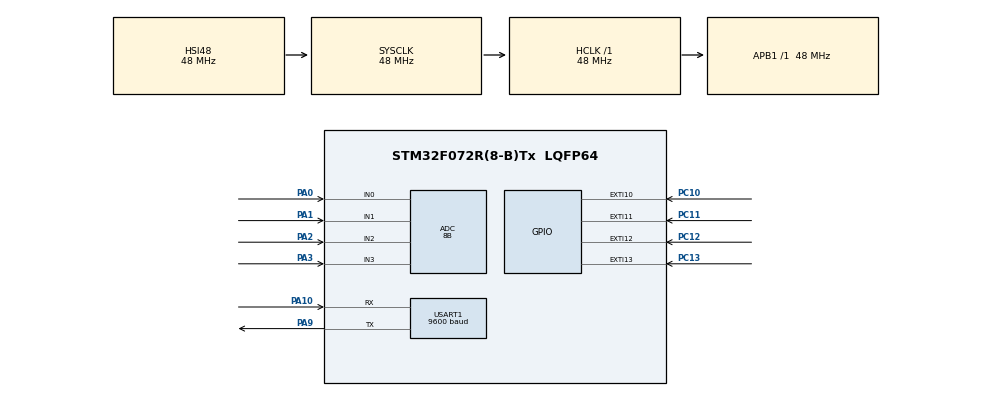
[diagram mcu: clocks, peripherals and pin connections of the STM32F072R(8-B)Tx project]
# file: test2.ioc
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ADC.ContinuousConvMode=ENABLE
ADC.Resolution=ADC_RESOLUTION_8B
ADC.SamplingTime=ADC_SAMPLETIME_28CYCLES_5
ADC.ScanConvMode=ADC_SCAN_DIRECTION_FORWARD
Mcu.Family=STM32F0
Mcu.Name=STM32F072R(8-B)Tx
Mcu.Package=LQFP64
NVIC.EXTI4_15_IRQn=true\:0\:0\:false\:false\:true\:true\:true\:true
NVIC.RCC_CRS_IRQn=true\:0\:0\:false\:false\:true\:true\:false\:true
PA0.Mode=IN0
PA0.Signal=ADC_IN0
PA1.Mode=IN1
PA1.Signal=ADC_IN1
PA10.Mode=Asynchronous
PA10.Signal=USART1_RX
PA13.Mode=Serial_Wire
PA13.Signal=SYS_SWDIO
PA14.Mode=Serial_Wire
PA14.Signal=SYS_SWCLK
PA2.Mode=IN2
PA2.Signal=ADC_IN2
PA3.Mode=IN3
PA3.Signal=ADC_IN3
PA9.Mode=Asynchronous
PA9.Signal=USART1_TX
PC10.GPIO_ModeDefaultEXTI=GPIO_MODE_IT_RISING
PC10.GPIO_PuPd=GPIO_PULLDOWN
PC10.Signal=GPXTI10
PC11.GPIO_ModeDefaultEXTI=GPIO_MODE_IT_RISING
PC11.GPIO_PuPd=GPIO_PULLDOWN
PC11.Signal=GPXTI11
PC12.GPIO_ModeDefaultEXTI=GPIO_MODE_IT_RISING
PC12.GPIO_PuPd=GPIO_PULLDOWN
PC12.Signal=GPXTI12
PC13.GPIO_ModeDefaultEXTI=GPIO_MODE_IT_RISING
PC13.GPIO_PuPd=GPIO_PULLDOWN
PC13.Signal=GPXTI13
ProjectManager.HeapSize=0x200
ProjectManager.StackSize=0x400
ProjectManager.TargetToolchain=STM32CubeIDE
RCC.AHBFreq_Value=48000000
RCC.APB1Freq_Value=48000000
RCC.APB1TimFreq_Value=48000000
RCC.HCLKFreq_Value=48000000
RCC.SYSCLKFreq_VALUE=48000000
RCC.SYSCLKSource=RCC_SYSCLKSOURCE_HSI48
USART1.BaudRate=9600
USART1.VirtualMode-Asynchronous=VM_ASYNC
VP_ADC_TempSens_Input.Mode=IN-TempSens
board=custom

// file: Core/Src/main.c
/* USER CODE BEGIN Header */
/**
  ******************************************************************************
  * @file           : main.c
  * @brief          : Main program body
  ******************************************************************************
  * @attention
  *
  * Copyright (c) 2023 STMicroelectronics.
  * All rights reserved.
  *
  * This software is licensed under terms that can be found in the LICENSE file
  * in the root directory of this software component.
  * If no LICENSE file comes with this software, it is provided AS-IS.
  *
  ******************************************************************************
  */
/* USER CODE END Header */
#include "main.h"

ADC_HandleTypeDef hadc;

UART_HandleTypeDef huart1;

/* USER CODE BEGIN PV */
/*int check = 0;
CAN_RxHeaderTypeDef RxHeader;
uint8_t RxData[8];
uint8_t myTxData[13] = "Wire Error \t"; */
/* USER CODE END PV */

void SystemClock_Config(void);
static void MX_GPIO_Init(void);
static void MX_USART1_UART_Init(void);
static void MX_ADC_Init(void);

/* USER CODE BEGIN 0 */
//CAN_TxHeaderTypeDef TxHeader;
//CAN_RxHeaderTypeDef RxHeader;

uint32_t TxMailBox;

uint8_t TxData[8];
uint8_t RxData[8];

uint8_t T[4];
//uint8_t myTxData[13] = "Wire Error \t";

uint32_t adc_var[4];

uint8_t f1,f2,f3,f4;

float adc_voltage[4];
int check = 0 ;

void ADC_SelectChannel(uint32_t channel)
{
    ADC_ChannelConfTypeDef sConfig = {0};
    sConfig.Channel = channel;
    sConfig.Rank = 1;
    sConfig.SamplingTime = ADC_SAMPLETIME_28CYCLES_5;

    if (HAL_ADC_ConfigChannel(&hadc, &sConfig) != HAL_OK)
    {
        Error_Handler();
    }
}

void HAL_GPIO_EXTI_Callback(uint16_t GPIO_Pin)
	{
	    if (GPIO_Pin == GPIO_PIN_13)
	    {
	        // ADC_CHANNEL_0
	    	ADC_SelectChannel(ADC_CHANNEL_0);
		HAL_ADC_Start(&hadc);
		HAL_ADC_PollForConversion(&hadc, HAL_MAX_DELAY);
		adc_var[0]= HAL_ADC_GetValue(&hadc);
		HAL_ADC_Stop(&hadc);
		adc_voltage[0] = (adc_var[0]*3.3)/255.0;
		//f1 = 1<<4;
		f1 = 0x1;

			 	 if ( adc_voltage[0] >= 0.2 || adc_voltage[0] <= 0.09  )
			 	  {
			 		 //f1+=1;
			 		 f1 = (f1 | 0x1) ;
			 	  }
			 	  else
			 	  {

			 	  }
			 	T[0] = f1;

	}

	//CHANNEL 1
	//***************************************************************************************

	 else if (GPIO_Pin == GPIO_PIN_12)
		   {
		      // ADC_CHANNEL_1
		ADC_SelectChannel(ADC_CHANNEL_1);

		HAL_ADC_Start(&hadc);
		HAL_ADC_PollForConversion(&hadc, HAL_MAX_DELAY);
		adc_var[1]= HAL_ADC_GetValue(&hadc);
		HAL_ADC_Stop(&hadc);
		adc_voltage[1] = (adc_var[1]*3.3)/255.0;

		//f2 = 1<<5;
		f2 = 0x2;
			 	 if ( adc_voltage[1] >= 0.2 || adc_voltage[1] <= 0.09  )
			 		 	  {
			 		 	 	// f2+=1;
			 		 	 	 f2 = (f2 | 0x1);

			 		 	  }
			 		 	  else
			 		 	  {

			 		 	  }
			 	T[1] = f2;

	}
	//CHANNEL 2
	//***************************************************************************************
	  else if (GPIO_Pin == GPIO_PIN_11)
	  {
		  // ADC_CHANNEL_2
	 ADC_SelectChannel(ADC_CHANNEL_2);
		HAL_ADC_Start(&hadc);
		HAL_ADC_PollForConversion(&hadc, HAL_MAX_DELAY);
		adc_var[2]= HAL_ADC_GetValue(&hadc);
		HAL_ADC_Stop(&hadc);
		adc_voltage[2] = (adc_var[2]*3.3)/255.0;
		//f3 = ( (f2 = 1<<5) | (f1 = 1<<4));
		f3 = 0x3;

			 	if ( adc_voltage[2] >= 0.2 || adc_voltage[2] <= 0.09  )
			 		 		 	  {
			 							//f3 += 1;
			 						f3 = (f3 | 0x1);

			 		 		 	  }
			 		 		 	  else
			 		 		 	  {

			 		 		 	  }
			 	T[2] = f3;

	}
	//CHANNEL 3
	//***************************************************************************************
	  else if (GPIO_Pin == GPIO_PIN_10)
	  			    {
		  // ADC_CHANNEL_3
		  ADC_SelectChannel(ADC_CHANNEL_3);
		HAL_ADC_Start(&hadc);
		HAL_ADC_PollForConversion(&hadc, HAL_MAX_DELAY);
		adc_var[3]= HAL_ADC_GetValue(&hadc);
		HAL_ADC_Stop(&hadc);
		adc_voltage[3] = (adc_var[3]*3.3)/255.0;
		//f4 = 1 << 6 ;
		f4 = 0x4;

			 	if ( adc_voltage[3] >= 0.2 || adc_voltage[3] <= 0.09  )
			 		 		 	  {
			 							//f4 += 1;
			 							f4 = (f4 | 0x1);

			 		 		 	  }
			 		 		 	  else
			 		 		 	  {

			 		 		 	  }
			 	T[3] = f4;

	}
}

//ERR : 0x1 : feu avant
//ERR : 0x2 : feu arriere
//ERR : 0x3 : feu de phare
//ERR : 0x4 : feu avant ( droite / gauche )

/*void HAL_CAN_RxFifo1MsgPendingCallback(CAN_HandleTypeDef *hcan)
{
	HAL_CAN_GetRxMessage(hcan, CAN_RX_FIFO1, &RxHeader, RxData);
	HAL_CAN_DeactivateNotification(hcan, CAN_IT_RX_FIFO0_MSG_PENDING);
	if(RxData[0]==0x1)
	{

		//HAL_UART_Transmit(&huart1, &myTxData, sizeof(myTxData), HAL_MAX_DELAY);
		count++;

	}
	HAL_CAN_ActivateNotification(&hcan, CAN_IT_RX_FIFO0_MSG_PENDING);

}*/

/* USER CODE END 0 */

int main(void)
{

  /* MCU Configuration--------------------------------------------------------*/

  /* Reset of all peripherals, Initializes the Flash interface and the Systick. */
  HAL_Init();

  /* Configure the system clock */
  SystemClock_Config();

  /* Initialize all configured peripherals */
  MX_GPIO_Init();
  MX_USART1_UART_Init();
  MX_ADC_Init();
  /* USER CODE BEGIN 2 */
  //HAL_CAN_Start(&hcan);
  //HAL_CAN_ActivateNotification(&hcan, CAN_IT_RX_FIFO0_MSG_PENDING);

  /* USER CODE END 2 */

  /* Infinite loop */
  while (1)
  {

    /* USER CODE BEGIN 3 */

	  // MESSAGE TRASMIT

		HAL_UART_Transmit(&huart1, T, sizeof(T), HAL_MAX_DELAY);

	  	HAL_Delay(500);

	  	  /*if (HAL_CAN_AddTxMessage(&hcan1, &TxHeader, TxData, &TxMailbox) != HAL_OK) {
	 	 	       Error_Handler();
	 	 	     }*/

/*	  if ( check == 1)
	  	  {
	  		  if( RxData[0] == 1 )
	  		  {
	  			  HAL_UART_Transmit(&huart1, myTxData, sizeof(myTxData), 1000);
	  			  HAL_Delay(400);

	  		  }
	  	  }*/

  }
  /* USER CODE END 3 */
}

void SystemClock_Config(void)
{
  RCC_OscInitTypeDef RCC_OscInitStruct = {0};
  RCC_ClkInitTypeDef RCC_ClkInitStruct = {0};
  RCC_PeriphCLKInitTypeDef PeriphClkInit = {0};

  /** Initializes the RCC Oscillators according to the specified parameters
  * in the RCC_OscInitTypeDef structure.
  */
  RCC_OscInitStruct.OscillatorType = RCC_OSCILLATORTYPE_HSI14|RCC_OSCILLATORTYPE_HSI48;
  RCC_OscInitStruct.HSI48State = RCC_HSI48_ON;
  RCC_OscInitStruct.HSI14State = RCC_HSI14_ON;
  RCC_OscInitStruct.HSI14CalibrationValue = 16;
  RCC_OscInitStruct.PLL.PLLState = RCC_PLL_NONE;
  if (HAL_RCC_OscConfig(&RCC_OscInitStruct) != HAL_OK)
  {
    Error_Handler();
  }

  /** Initializes the CPU, AHB and APB buses clocks
  */
  RCC_ClkInitStruct.ClockType = RCC_CLOCKTYPE_HCLK|RCC_CLOCKTYPE_SYSCLK
                              |RCC_CLOCKTYPE_PCLK1;
  RCC_ClkInitStruct.SYSCLKSource = RCC_SYSCLKSOURCE_HSI48;
  RCC_ClkInitStruct.AHBCLKDivider = RCC_SYSCLK_DIV1;
  RCC_ClkInitStruct.APB1CLKDivider = RCC_HCLK_DIV1;

  if (HAL_RCC_ClockConfig(&RCC_ClkInitStruct, FLASH_LATENCY_1) != HAL_OK)
  {
    Error_Handler();
  }
  PeriphClkInit.PeriphClockSelection = RCC_PERIPHCLK_USART1;
  PeriphClkInit.Usart1ClockSelection = RCC_USART1CLKSOURCE_PCLK1;
  if (HAL_RCCEx_PeriphCLKConfig(&PeriphClkInit) != HAL_OK)
  {
    Error_Handler();
  }
}

static void MX_ADC_Init(void)
{

  ADC_ChannelConfTypeDef sConfig = {0};

  /** Configure the global features of the ADC (Clock, Resolution, Data Alignment and number of conversion)
  */
  hadc.Instance = ADC1;
  hadc.Init.ClockPrescaler = ADC_CLOCK_ASYNC_DIV1;
  hadc.Init.Resolution = ADC_RESOLUTION_8B;
  hadc.Init.DataAlign = ADC_DATAALIGN_RIGHT;
  hadc.Init.ScanConvMode = ADC_SCAN_DIRECTION_FORWARD;
  hadc.Init.EOCSelection = ADC_EOC_SINGLE_CONV;
  hadc.Init.LowPowerAutoWait = DISABLE;
  hadc.Init.LowPowerAutoPowerOff = DISABLE;
  hadc.Init.ContinuousConvMode = ENABLE;
  hadc.Init.DiscontinuousConvMode = DISABLE;
  hadc.Init.ExternalTrigConv = ADC_SOFTWARE_START;
  hadc.Init.ExternalTrigConvEdge = ADC_EXTERNALTRIGCONVEDGE_NONE;
  hadc.Init.DMAContinuousRequests = DISABLE;
  hadc.Init.Overrun = ADC_OVR_DATA_PRESERVED;
  if (HAL_ADC_Init(&hadc) != HAL_OK)
  {
    Error_Handler();
  }

  /** Configure for the selected ADC regular channel to be converted.
  */
  sConfig.Channel = ADC_CHANNEL_0;
  sConfig.Rank = ADC_RANK_CHANNEL_NUMBER;
  sConfig.SamplingTime = ADC_SAMPLETIME_28CYCLES_5;
  if (HAL_ADC_ConfigChannel(&hadc, &sConfig) != HAL_OK)
  {
    Error_Handler();
  }

  /** Configure for the selected ADC regular channel to be converted.
  */
  sConfig.Channel = ADC_CHANNEL_1;
  if (HAL_ADC_ConfigChannel(&hadc, &sConfig) != HAL_OK)
  {
    Error_Handler();
  }

  /** Configure for the selected ADC regular channel to be converted.
  */
  sConfig.Channel = ADC_CHANNEL_2;
  if (HAL_ADC_ConfigChannel(&hadc, &sConfig) != HAL_OK)
  {
    Error_Handler();
  }

  /** Configure for the selected ADC regular channel to be converted.
  */
  sConfig.Channel = ADC_CHANNEL_3;
  if (HAL_ADC_ConfigChannel(&hadc, &sConfig) != HAL_OK)
  {
    Error_Handler();
  }

  /** Configure for the selected ADC regular channel to be converted.
  */
  sConfig.Channel = ADC_CHANNEL_TEMPSENSOR;
  if (HAL_ADC_ConfigChannel(&hadc, &sConfig) != HAL_OK)
  {
    Error_Handler();
  }

}

static void MX_USART1_UART_Init(void)
{

  huart1.Instance = USART1;
  huart1.Init.BaudRate = 9600;
  huart1.Init.WordLength = UART_WORDLENGTH_8B;
  huart1.Init.StopBits = UART_STOPBITS_1;
  huart1.Init.Parity = UART_PARITY_NONE;
  huart1.Init.Mode = UART_MODE_TX_RX;
  huart1.Init.HwFlowCtl = UART_HWCONTROL_NONE;
  huart1.Init.OverSampling = UART_OVERSAMPLING_16;
  huart1.Init.OneBitSampling = UART_ONE_BIT_SAMPLE_DISABLE;
  huart1.AdvancedInit.AdvFeatureInit = UART_ADVFEATURE_NO_INIT;
  if (HAL_UART_Init(&huart1) != HAL_OK)
  {
    Error_Handler();
  }

}

static void MX_GPIO_Init(void)
{
  GPIO_InitTypeDef GPIO_InitStruct = {0};

  /* GPIO Ports Clock Enable */
  __HAL_RCC_GPIOC_CLK_ENABLE();
  __HAL_RCC_GPIOA_CLK_ENABLE();

  /*Configure GPIO pins : PC13 PC10 PC11 PC12 */
  GPIO_InitStruct.Pin = GPIO_PIN_13|GPIO_PIN_10|GPIO_PIN_11|GPIO_PIN_12;
  GPIO_InitStruct.Mode = GPIO_MODE_IT_RISING;
  GPIO_InitStruct.Pull = GPIO_PULLDOWN;
  HAL_GPIO_Init(GPIOC, &GPIO_InitStruct);

  /* EXTI interrupt init*/
  HAL_NVIC_SetPriority(EXTI4_15_IRQn, 0, 0);
  HAL_NVIC_EnableIRQ(EXTI4_15_IRQn);

}

void Error_Handler(void)
{
  __disable_irq();
  while (1)
  {
  }
}
